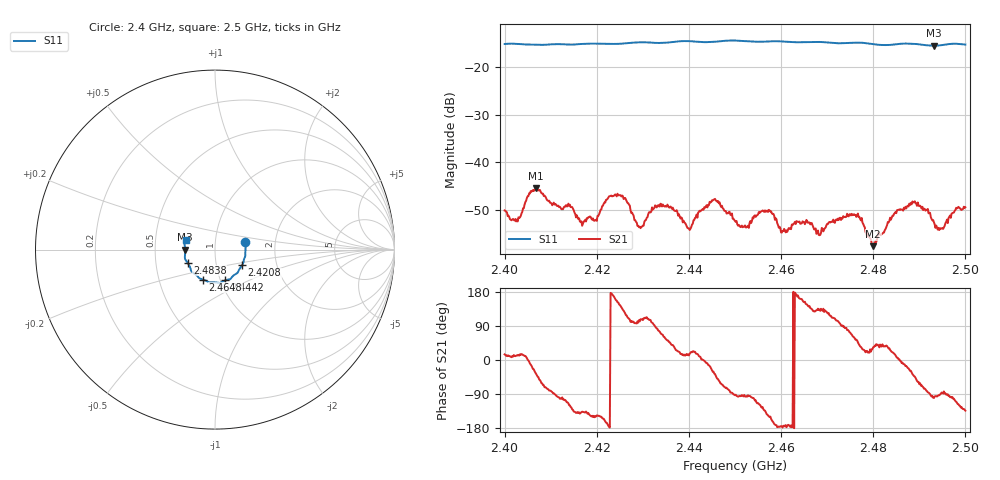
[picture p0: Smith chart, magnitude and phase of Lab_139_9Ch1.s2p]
# Hz S RI R 50
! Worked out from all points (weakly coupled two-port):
!   601 points, 2.4 GHz to 2.5 GHz, reference 50 ohm
!   highest |S21| = -45.45 dB at 2.4068 GHz (marker M1); lowest = -57.5 dB at 2.48 GHz (marker M2)
!   lowest |S11| = -15.6 dB at 2.4932 GHz (marker M3), VSWR 1.40, Z = 35.8 - j0.0835 ohm
!   |S11| at or under -10 dB: start of sweep to end of sweep
!   S12 and S22 are empty: the file has one direction only
!   S11 on the Smith chart (normalised r, x): 2.4 GHz: 1.40, +0.12; 2.4208 GHz: 1.33, -0.24; 2.4442 GHz: 1.05, -0.37; 2.4648 GHz: 0.83, -0.29; 2.4838 GHz: 0.73, -0.11; 2.5 GHz: 0.72, +0.08
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2.4e9  0.1678 0.0412  0.00304 0.000809  0 0  0 0
2.403e9  0.1712 0.0244  0.00259 0.000624  0 0  0 0
2.406833e9  0.1695 -0.00781  0.00429 -0.00317  0 0  0 0
2.416667e9  0.1589 -0.0681  -0.00179 -0.00163  0 0  0 0
2.420833e9  0.1507 -0.0872  -0.00276 -0.00162  0 0  0 0
2.425e9  0.1359 -0.1083  -0.00374 0.00261  0 0  0 0
2.429667e9  0.1256 -0.1292  -0.000625 0.00201  0 0  0 0
2.433333e9  0.1079 -0.1403  0.000731 0.0034  0 0  0 0
2.44e9  0.0819 -0.1661  0.00199 0.000432  0 0  0 0
2.444167e9  0.0568 -0.1714  0.0035 -0.00082  0 0  0 0
2.45e9  0.0246 -0.1862  -0.000122 -0.00244  0 0  0 0
2.457e9  -0.0202 -0.1824  -0.00254 -0.00184  0 0  0 0
2.4605e9  -0.038 -0.1795  -0.00191 -0.000202  0 0  0 0
2.464833e9  -0.0684 -0.1668  -0.00213 0.00104  0 0  0 0
2.466667e9  -0.0799 -0.1628  -0.00163 0.00165  0 0  0 0
2.476167e9  -0.1285 -0.1236  0.00169 0.00227  0 0  0 0
2.48e9  -0.1373 -0.1036  0.00111 0.000741  0 0  0 0
2.483333e9  -0.1505 -0.0762  0.00203 0.00119  0 0  0 0
2.483833e9  -0.1532 -0.0722  0.00231 0.00102  0 0  0 0
2.488667e9  -0.1676 -0.0449  0.00295 -0.00243  0 0  0 0
2.493167e9  -0.1659 -0.00113  -0.000419 -0.00233  0 0  0 0
2.5e9  -0.1622 0.0529  -0.00235 -0.00245  0 0  0 0
